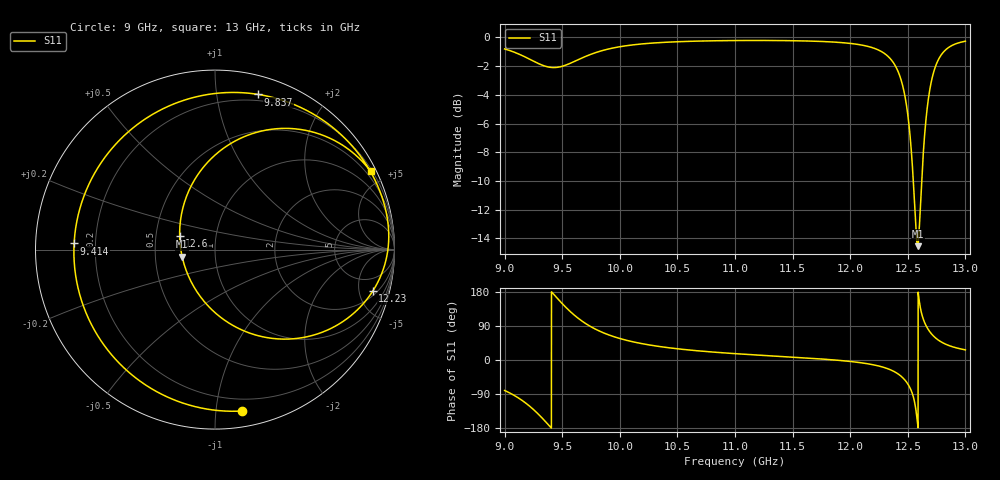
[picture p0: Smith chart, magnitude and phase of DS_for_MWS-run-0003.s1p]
! TOUCHSTONE file generated by CST DESIGN STUDIO
! Date and time: Tue Feb  4 14:32:39 2025
! Project name: C:\Work\MatlabApps\UnitCellOptimizationMatlab\CST\unitcell.cst
! Tree item: Tasks\Sweep1\SPara1\S-Parameters
! Header version: 2024
! Port assignment regex: !\s*Touchstone port\s*([0-9]+)\s*=\s*(CST MWS port|CST DES external port|CST DES block port)\s*(.+)\s* \(\"(.*)\"\)(\s*mode\s*([0-9]+))?.*
! Touchstone port assignment:
! Touchstone port 1 = CST DES external port 1 ("")
# GHz S MA R 50
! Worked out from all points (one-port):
!   4001 points, 9 GHz to 13 GHz, reference 50 ohm
!   lowest |S11| = -14.5 dB at 12.59 GHz (marker M1), VSWR 1.46, Z = 34.4 - j2.85 ohm
!   |S11| at or under -10 dB: 12.55 GHz to 12.62 GHz (72.53 MHz wide, 0.576 % of centre)
!   S11 on the Smith chart (normalised r, x): 9 GHz: 0.11, -1.18; 9.414 GHz: 0.12, +0.02; 9.837 GHz: 0.15, +1.31; 12.23 GHz: 2.54, -6.75; 12.6 GHz: 0.66, +0.10; 13 GHz: 0.28, +4.19
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9  0.912 -80.5
9.118  0.8772 -99.8
9.215  0.8409 -121.3
9.326  0.8009 -153.2
9.414  0.7857 177.5
9.5  0.7935 148.9
9.575  0.8145 126.5
9.65  0.8407 107.5
9.837  0.8975 74.4
10  0.9284 56.7
10.216  0.9514 41.8
10.5  0.9663 29.6
11  0.9756 16.8
11.5  0.9743 7.5
12  0.9534 -3.8
12.234  0.9084 -14.8
12.391  0.7974 -32.1
12.447  0.6996 -44.2
12.5  0.5382 -63.2
12.542  0.3458 -91.0
12.585  0.1874 -167.7
12.598  0.2105 159.4
12.625  0.342 117.1
12.656  0.5088 92.2
12.713  0.7273 66.5
12.768  0.8405 51.9
12.829  0.9058 41.6
13  0.9703 26.8
